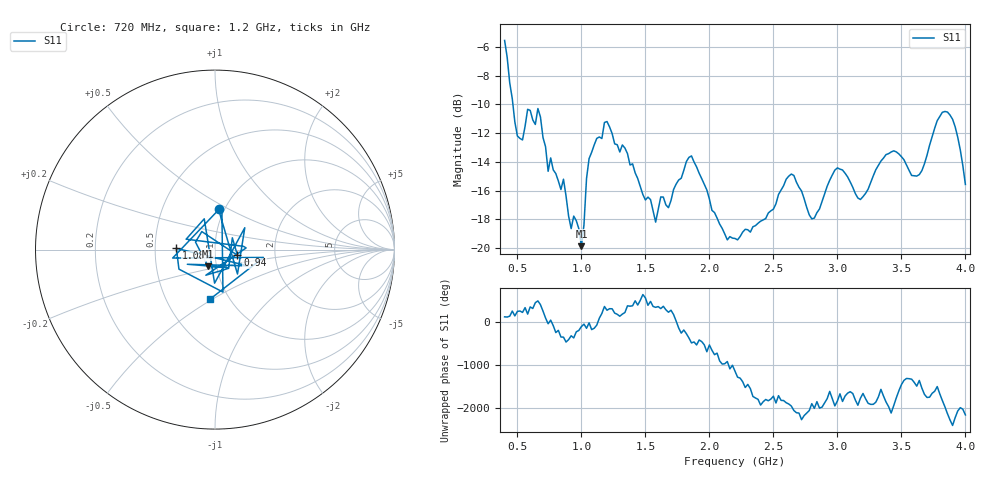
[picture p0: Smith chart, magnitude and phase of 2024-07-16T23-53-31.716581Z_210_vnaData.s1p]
!Created with skrf (http://scikit-rf.org).
# Hz S RI R 50.0
!freq ReS11 ImS11
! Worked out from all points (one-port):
!   181 points, 400 MHz to 4 GHz, reference 50 ohm
!   lowest |S11| = -19.9 dB at 1 GHz (marker M1), VSWR 1.23, Z = 45.5 - j8.63 ohm
!   |S11| at or under -10 dB: 464.8 MHz to end of sweep
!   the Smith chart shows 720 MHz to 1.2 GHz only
!   S11 on the Smith chart (normalised r, x): 720 MHz: 0.94, +0.44; 940 MHz: 1.28, -0.08; 1.08 GHz: 0.65, +0.01; 1.2 GHz: 0.82, -0.49
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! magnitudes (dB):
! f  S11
! 400 MHz  -5.5
! 500 MHz  -12.2
! 660 MHz  -10.3
! 720 MHz  -13.0
! 740 MHz  -14.7
! 860 MHz  -15.2
! 920 MHz  -18.6
! 940 MHz  -17.8
! 1 GHz  -19.9
! 1.04 GHz  -15.2
! 1.08 GHz  -13.3
! 1.2 GHz  -11.2
! 1.3 GHz  -13.3
! 1.58 GHz  -18.2
! 1.76 GHz  -15.3
! 1.86 GHz  -13.6
! 2.2 GHz  -19.3
! 2.66 GHz  -14.9
! 2.8 GHz  -18.0
! 2.98 GHz  -14.6
! 3.1 GHz  -15.4
! 3.18 GHz  -16.6
! 3.44 GHz  -13.2
! 3.56 GHz  -14.6
! 3.64 GHz  -14.9
! 3.86 GHz  -10.5
! 3.94 GHz  -12.3
! 4 GHz  -15.6
